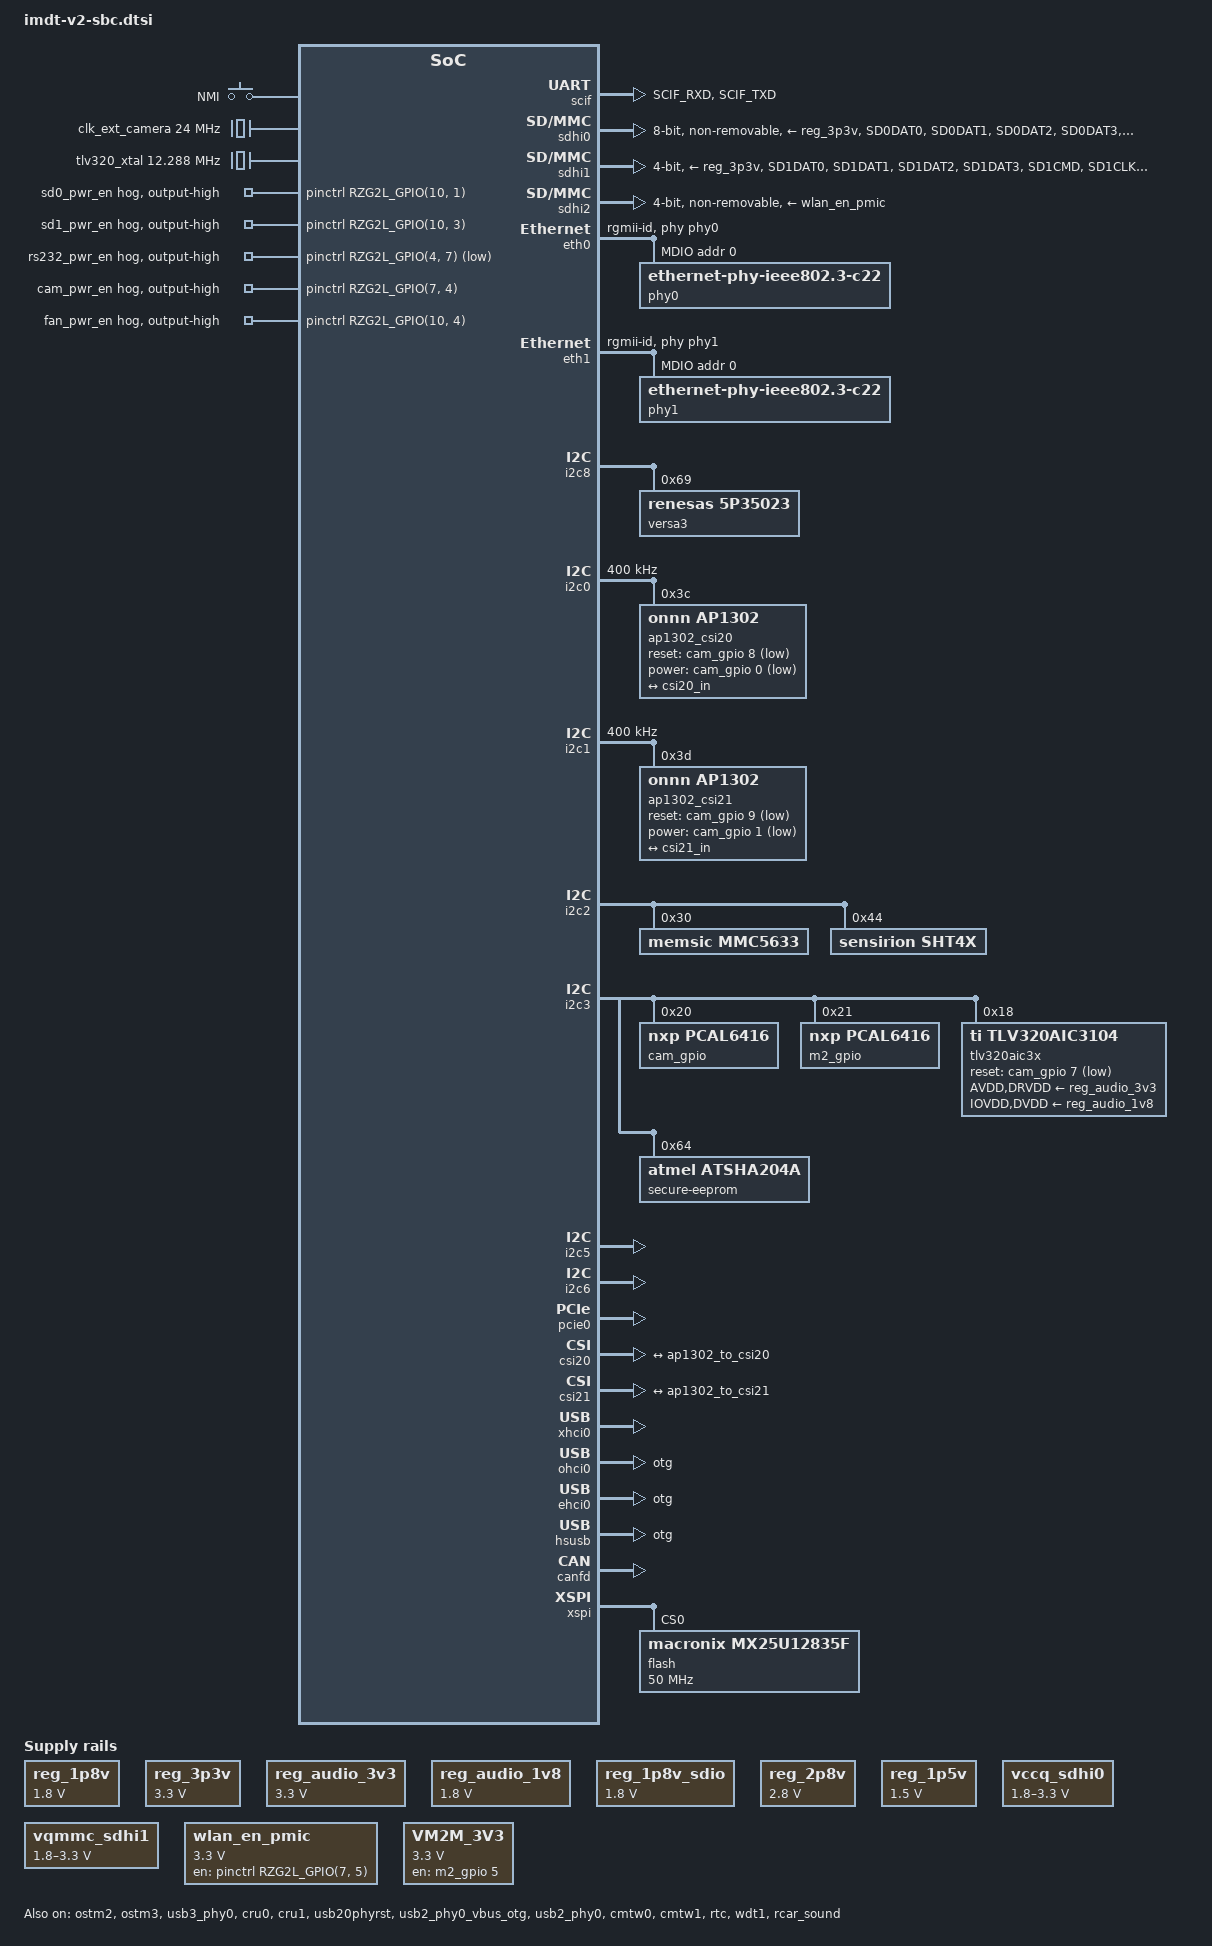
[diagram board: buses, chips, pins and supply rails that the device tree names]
// SPDX-License-Identifier: (GPL-2.0-only OR BSD-2-Clause)
/*
 * Common device tree for the IMDT Renesas V2N or V2H SBCs
 *
 * Copyright (C) 2022 Renesas Electronics Corp.
 * Copyright (C) 2024 IMD Technologies Ltd.
 */

/ {
	chosen {
		bootargs = "ignore_loglevel";
		stdout-path = "serial0:115200n8";
	};

	mmngr {
		compatible = "renesas,mmngr";
		memory-region = <&mmp_reserved>;
	};

	mmngrbuf {
		compatible = "renesas,mmngrbuf";
	};

	vspm_if {
		compatible = "renesas,vspm_if";
	};

	gpio-keys {
		compatible = "gpio-keys";

		nmi {
			interrupt-parent = <&icu>;
			interrupts = <0 IRQ_TYPE_EDGE_FALLING>;
			linux,code = <0>;
			label = "NMI";
			wakeup-source;
		};
	};

	reg_1p8v: regulator0 {
		compatible = "regulator-fixed";

		regulator-name = "fixed-1.8V";
		regulator-min-microvolt = <1800000>;
		regulator-max-microvolt = <1800000>;
		regulator-boot-on;
		regulator-always-on;
	};

	reg_3p3v: regulator1 {
		compatible = "regulator-fixed";

		regulator-name = "fixed-3.3V";
		regulator-min-microvolt = <3300000>;
		regulator-max-microvolt = <3300000>;
		regulator-boot-on;
		regulator-always-on;
	};

	reg_audio_3v3: regulator2 {
		compatible = "regulator-fixed";
		regulator-name = "audio-3V3";
		regulator-min-microvolt = <3300000>;
		regulator-max-microvolt = <3300000>;
		regulator-always-on;
	};

	reg_audio_1v8: regulator3 {
		compatible = "regulator-fixed";
		regulator-name = "audio-1V8";
		regulator-min-microvolt = <1800000>;
		regulator-max-microvolt = <1800000>;
		regulator-always-on;
	};

	reg_1p8v_sdio: regulator4 {
		compatible = "regulator-fixed";
		regulator-name = "sdio-fixed-1.8V";
		regulator-min-microvolt = <1800000>;
		regulator-max-microvolt = <1800000>;
		regulator-boot-on;
		regulator-always-on;
	};
	reg_2p8v: regulator5 {
		compatible = "regulator-fixed";

		regulator-name = "fixed-2.8V";
		regulator-min-microvolt = <2800000>;
		regulator-max-microvolt = <2800000>;
		regulator-boot-on;
		regulator-always-on;
	};
	reg_1p5v: regulator6 {
		compatible = "regulator-fixed";

		regulator-name = "fixed-1.5V";
		regulator-min-microvolt = <1500000>;
		regulator-max-microvolt = <1500000>;
		regulator-boot-on;
		regulator-always-on;
	};

	vccq_sdhi0: regulator-vccq-sdhi0 {
		compatible = "regulator-gpio";

		regulator-name = "SDHI0 VccQ";
		regulator-min-microvolt = <1800000>;
		regulator-max-microvolt = <3300000>;

		// LDO_SEL1 input on RAA215300 PMIC
		gpios = <&pinctrl RZG2L_GPIO(10, 0) GPIO_ACTIVE_HIGH>;

		gpios-states = <0>;
		states = <3300000 0 1800000 1>;
	};

	vqmmc_sdhi1: regulator-vccq-sdhi1 {
		compatible = "regulator-gpio";

		regulator-name = "SDHI1 VccQ";
		regulator-min-microvolt = <1800000>;
		regulator-max-microvolt = <3300000>;

		// LDO_SEL2 input on RAA215300 PMIC
		gpios = <&pinctrl RZG2L_GPIO(10, 2) GPIO_ACTIVE_HIGH>;

		gpios-states = <0>;
		states = <3300000 0 1800000 1>;
	};

	wlan_en_pmic: wlan-en-1-8v {
		compatible = "regulator-fixed";

		regulator-name = "wlan-pmic-en-regulator";
		regulator-min-microvolt = <3300000>;
		regulator-max-microvolt = <3300000>;

		gpio = <&pinctrl RZG2L_GPIO(7, 5) GPIO_ACTIVE_HIGH>;

		startup-delay-us = <100000>;
		enable-active-high;
	};
	// Regulator for the M2 Key M slot
	VM2M_3V3: VM2M_en-3-3v {
		compatible = "regulator-fixed";

		regulator-name = "V2M_3V3";
		regulator-min-microvolt = <3300000>;
		regulator-max-microvolt = <3300000>;

		gpio = <&m2_gpio 5 GPIO_ACTIVE_HIGH>;
		/* Measured to take 0.5ms using a scope, set to 5ms */
		/* so there's a safety factor to ensure the regulator is stable */
		startup-delay-us = <5000>;
		enable-active-high;
	};

	clk_ext_camera: clk_ext_camera {
		compatible = "fixed-clock";
		#clock-cells = <0>;
		clock-frequency = <24000000>;
	};

	/* input to the 5L35023B */
	x1_clk: x1-clock {
		compatible = "fixed-clock";
		#clock-cells = <0>;
		clock-frequency = <24000000>;
	};

	tlv320_xtal: tlv320_xtal {
		compatible = "fixed-clock";
		#clock-cells = <0>;
		clock-frequency = <12288000>;
	};

	snd_rzv2h: sound {
		#address-cells = <1>;
		#size-cells = <0>;
		compatible = "simple-audio-card";
		simple-audio-card,name = "rsnd_rzv2h";
		status = "okay";
		simple-audio-card,widgets =
			"Microphone", "Microphone Jack",
			"Headphone", "Headphone Jack";
		simple-audio-card,routing =
			"Headphone Jack", "HPLOUT",
			"Headphone Jack", "HPROUT",
			"MIC2R", "Microphone Jack",
			"Microphone Jack", "Mic Bias";

		ssi_link: simple-audio-card,dai-link@0 {
			format = "i2s";
			reg = <0>;
			bitclock-master = <&cpu_dai0>;
			frame-master = <&cpu_dai0>;
			mclk-fs = <256>;

			cpu_dai0: cpu {
				sound-dai = <&rcar_sound>;
			};

			codec {
				sound-dai = <&tlv320aic3x>;
			};
		};
	};

	dsi_adaptor_i2c: dsi_adaptor_i2c {
		compatible = "i2c-gpio";
		sda-gpios = <&pinctrl RZG2L_GPIO(2, 0) GPIO_ACTIVE_HIGH>;
		scl-gpios = <&pinctrl RZG2L_GPIO(2, 1) GPIO_ACTIVE_HIGH>;
		i2c-gpio,delay-us = <2>;    /* ~100 kHz */
		#address-cells = <1>;
		#size-cells = <0>;
		status = "disabled";
	};
};

&audio_clka {
	/* output from 5L35023B */
	clock-frequency = <22579200>;
};

&pinctrl {
	can1_pins: can1 {
		pinmux = <RZG2L_PORT_PINMUX(8, 2, 5)>, /* TX */
				<RZG2L_PORT_PINMUX(8, 3, 5)>; /* RX */
	};

	scif0_pins: scif0 {
		pins =  "SCIF_RXD", "SCIF_TXD";
	};

	sci0_pins: sci0 {
		pinmux = <RZG2L_PORT_PINMUX(5, 0, 1)>, /* SCI0_TXD_MOSI_SDA */
				<RZG2L_PORT_PINMUX(5, 1, 1)>; /* SCI0_RXD_MISO_SCL */
	};

	sd0_pwr_en {
		gpio-hog;
		gpios = <RZG2L_GPIO(10, 1) GPIO_ACTIVE_HIGH>;
		output-high;
		line-name = "sd0_pwr_en";
	};

	sdhi0_emmc_pins: emmc-pins {
		sd0-dat-cmd {
			pins = "SD0DAT0", "SD0DAT1", "SD0DAT2", "SD0DAT3", "SD0DAT4",
					"SD0DAT5", "SD0DAT6", "SD0DAT7", "SD0CMD";
			input-enable;
			renesas,output-impedance = <3>;
			slew-rate = <0>;
		};

		sd0-clk {
			pins = "SD0CLK";
			renesas,output-impedance = <3>;
			slew-rate = <0>;
		};
	};

	sd1_pwr_en {
		gpio-hog;
		gpios = <RZG2L_GPIO(10, 3) GPIO_ACTIVE_HIGH>;
		output-high;
		line-name = "sd1_pwr_en";
	};

	sdhi1_pins: sd1 {
		sd1_dat_cmd {
			pins = "SD1DAT0", "SD1DAT1", "SD1DAT2", "SD1DAT3", "SD1CMD";
			input-enable;
			renesas,output-impedance = <3>;
			slew-rate = <0>;
		};

		sd1_clk {
			pins = "SD1CLK";
			renesas,output-impedance = <3>;
			slew-rate = <0>;
		};
	};

	rs232_pwr_en {
		gpio-hog;
		gpios = <RZG2L_GPIO(4, 7) GPIO_ACTIVE_LOW>;
		output-high;
		line-name = "rs232_pwr_en";
	};

	/* cam_pwr_en turns on 1.2V reg, 1.8V_CAM supply and 3.3V_CAM supply. */
	/* Schematic on SOM shows this being PB2/CAM0&1_PWR but it's actually using */
	/* P74. And you can trace this from the SOM to the SBC schematic */
	cam_pwr_en {
		gpio-hog;
		gpios = <RZG2L_GPIO(7, 4) GPIO_ACTIVE_HIGH>;
		output-high;
		line-name = "cam_pwr_en";
	};

	fan_pwr_en {
		gpio-hog;
		gpios = <RZG2L_GPIO(10, 4) GPIO_ACTIVE_HIGH>;
		output-high;
		line-name = "fan_pwr_en";
	};

	i2c0_pins: i2c0 {
		pinmux = <RZG2L_PORT_PINMUX(3, 0, 1)>, /* I2C0_SDA */
				<RZG2L_PORT_PINMUX(3, 1, 1)>; /* I2C0_SCL */
	};

	i2c1_pins: i2c1 {
		pinmux = <RZG2L_PORT_PINMUX(3, 2, 1)>, /* I2C1_SDA */
				<RZG2L_PORT_PINMUX(3, 3, 1)>; /* I2C1_SCL */
	};

	i2c2_pins: i2c2 {
		pinmux = <RZG2L_PORT_PINMUX(3, 4, 1)>, /* I2C2_SDA */
				<RZG2L_PORT_PINMUX(3, 5, 1)>; /* I2C2_SCL */
	};

	i2c3_pins: i2c3 {
		pinmux = <RZG2L_PORT_PINMUX(3, 6, 1)>, /* I2C3_SDA */
				<RZG2L_PORT_PINMUX(3, 7, 1)>; /* I2C3_SCL */
	};

	i2c5_pins: i2c5 {
		pinmux = <RZG2L_PORT_PINMUX(4, 2, 1)>, /* I2C5_SDA */
				<RZG2L_PORT_PINMUX(4, 3, 1)>; /* I2C5_SCL */
	};

	i2c6_pins: i2c6 {
		pinmux = <RZG2L_PORT_PINMUX(4, 4, 1)>, /* I2C6_SDA */
				<RZG2L_PORT_PINMUX(4, 5, 1)>; /* I2C6_SCL */
	};

	i2c8_pins: i2c8 {
		pinmux = <RZG2L_PORT_PINMUX(0, 6, 1)>, /* I2C8_SDA */
				<RZG2L_PORT_PINMUX(0, 7, 1)>; /* I2C8_SCL */
	};

	usb30_pins: usb30 {
		ovc {
			pinmux = <RZG2L_PORT_PINMUX(6, 1, 14)>; /* OVC */
		};

		vbus {
			pinmux = <RZG2L_PORT_PINMUX(6, 0, 14)>; /* VBUS */
		};
	};

	usb20_pins: usb20 {
		ovc {
			pinmux =  <RZG2L_PORT_PINMUX(9, 6, 14)>; /* OVC */
		};

		vbus {
			pinmux = <RZG2L_PORT_PINMUX(9, 5, 14)>; /* VBUS */
		};
	};

	i3c_pins: i3c {
		pinmux = <RZG2L_PORT_PINMUX(2, 0,0 )>, /* GPIO */
				<RZG2L_PORT_PINMUX(2, 1,0)>; /* GPIO0 */
	};

	sound_pins: sound {
		pinmux = <RZG2L_PORT_PINMUX(1, 2, 7)>, /* SSI3_SCK */
				<RZG2L_PORT_PINMUX(1, 3, 7)>, /* SSI3_WS */
				<RZG2L_PORT_PINMUX(0, 4, 7)>, /* SSI3_SDATA */
				<RZG2L_PORT_PINMUX(1, 5, 7)>; /* SSI4_SDATA */
	};

	wifi_sdio_pins: wifi {
		wifi_sdio_data_pins {
			pinmux = <RZG2L_PORT_PINMUX(11, 1, 1)>, //SD2DAT0
				<RZG2L_PORT_PINMUX(11, 2, 1)>, //SD2DAT1
				<RZG2L_PORT_PINMUX(11, 3, 1)>, //SD2DAT2
				<RZG2L_PORT_PINMUX(11, 4, 1)>, //SD2DAT3
				<RZG2L_PORT_PINMUX(11, 5, 1)>; //SD2CMD
		};

		wifi_sdio_clk_pin {
			pinmux = <RZG2L_PORT_PINMUX(11, 0, 1)>; //SD2CLK
		};
	};

	bluetooth_pins: bluetooth {
		pinmux = <RZG2L_PORT_PINMUX(5, 4, 1)>, //SCI2_TXD_MOSI_SDA
				<RZG2L_PORT_PINMUX(5, 5, 1)>, //SCI2_RXD_MISO_SCL
				<RZG2L_PORT_PINMUX(5, 6, 4)>, //SCI2_CTS
				<RZG2L_PORT_PINMUX(5, 7, 2)>; //SCI2_CTS_RTS
	};
};

&qextal_clk {
	clock-frequency = <24000000>;
};

&ostm2 {
	status = "okay";
};

&ostm3 {
	status = "okay";
};

&scif {
	pinctrl-0 = <&scif0_pins>;
	pinctrl-names = "default";

	status = "okay";
};

&sdhi0 {
	pinctrl-0 = <&sdhi0_emmc_pins>;
	pinctrl-1 = <&sdhi0_emmc_pins>;
	pinctrl-names = "default", "state_uhs";
	vmmc-supply = <&reg_3p3v>;
	vqmmc-supply = <&vccq_sdhi0>;
	bus-width = <8>;
	non-removable;
	no-sd;
	no-sdio;
	mmc-hs200-1_8v;
	fixed-emmc-driver-type = <1>;
	status = "okay";
};

&usb3_phy0 {
	status = "okay";
};

&sdhi1 {
	pinctrl-0 = <&sdhi1_pins>;
	pinctrl-1 = <&sdhi1_pins>;
	pinctrl-names = "default", "state_uhs";
	vmmc-supply = <&reg_3p3v>;
	vqmmc-supply = <&vqmmc_sdhi1>;
	bus-width = <4>;
	sd-uhs-sdr50;
	sd-uhs-sdr104;
	cd-gpios = <&pinctrl RZG2L_GPIO(9, 4) GPIO_ACTIVE_HIGH>;
	status = "okay";
};

&sdhi2 {
	pinctrl-names = "default";
	pinctrl-0 = <&wifi_sdio_pins>;

	vmmc-supply = <&wlan_en_pmic>;
	vqmmc-supply = <&reg_1p8v_sdio>;
	bus-width = <4>;
	keep-power-in-suspend;
	non-removable;

	no-sd;
	no-mmc;

	sd-uhs-sdr12;
	sd-uhs-sdr25;
	sd-uhs-sdr50;
	status = "okay";
};

&eth0 {
	phy-handle = <&phy0>;
	phy-mode = "rgmii-id";
	status = "okay";

	mdio {
		#address-cells = <1>;
		#size-cells = <0>;
		phy0: ethernet-phy@0 {
			compatible = "ethernet-phy-ieee802.3-c22";
			reg = <0>;

			// NOTE: these properties were copied from pico-e device tree
			eee-broken-1000t;
			rtl821x,clkout-disable;
		};
	};
};

&eth1 {
	phy-handle = <&phy1>;
	phy-mode = "rgmii-id";
	status = "okay";

	mdio {
		#address-cells = <1>;
		#size-cells = <0>;
		phy1: ethernet-phy@0 {
			compatible = "ethernet-phy-ieee802.3-c22";
			reg = <0>;

			// NOTE: these properties were copied from pico-e device tree
			eee-broken-1000t;
			rtl821x,clkout-disable;
		};
	};
};

&i2c8 {
	pinctrl-0 = <&i2c8_pins>;
	pinctrl-names = "default";

	status = "okay";

	versa3: versa3@69 {
		compatible = "renesas,5p35023";
		reg = <0x69>;
		#clock-cells = <1>;
		clocks = <&x1_clk>;
		clock-names = "x1";
		otp-burned;
		32kHz-free-running;

		assigned-clocks = <&versa3 0>,
					<&versa3 1>,
					<&versa3 2>,
					<&versa3 3>,
					<&versa3 4>,
					<&versa3 5>;
		assigned-clock-rates =  <100000000>, <100000000>,
					<22579200>, <32768>,
					<24576000>, <24000000>;
		clock-divider-read-only = <1>, <1>, <1>, <1>, <1>;
		clock-flags = <2176>, <2176>, <2176>, <2052>, <2176>, <2048>;
	};
};

&i2c0 {
	pinctrl-0 = <&i2c0_pins>;
	pinctrl-names = "default";
	clock-frequency = <400000>;

	status = "okay";

	ap1302_csi20: ap1302_csi20@3c {
		compatible = "onnn,ap1302";
		reg = <0x3c>;

		clock-names = "csi_mclk";
		clocks = <&clk_ext_camera>;

		reset-gpios = <&cam_gpio 8 GPIO_ACTIVE_LOW>;
		power-gpios = <&cam_gpio 0 GPIO_ACTIVE_LOW>;

		port {
			ap1302_to_csi20: endpoint {
				clock-lanes = <0>;
				data-lanes = <1 2 3 4>;
				remote-endpoint = <&csi20_in>;
			};
		};

		sensors {
			#address-cells = <1>;
			#size-cells = <0>;

			onnn,model = "onnn,ar1335";

			sensor@0 {
				reg = <0>;
			};
		};
	};
};

&i2c1 {
	pinctrl-0 = <&i2c1_pins>;
	pinctrl-names = "default";
	clock-frequency = <400000>;

	status = "okay";

	ap1302_csi21: ap1302_csi21@3d {
		compatible = "onnn,ap1302";
		reg = <0x3d>;

		clock-names = "csi_mclk";
		clocks = <&clk_ext_camera>;

		reset-gpios = <&cam_gpio 9 GPIO_ACTIVE_LOW>;
		power-gpios = <&cam_gpio 1 GPIO_ACTIVE_LOW>;

		port {
			ap1302_to_csi21: endpoint {
				clock-lanes = <0>;
				data-lanes = <1 2 3 4>;
				remote-endpoint = <&csi21_in>;
			};
		};

		sensors {
			#address-cells = <1>;
			#size-cells = <0>;

			onnn,model = "onnn,ar1335";

			sensor@0 {
				reg = <0>;
			};
		};
	};
};

&i2c2 {
	pinctrl-0 = <&i2c2_pins>;
	pinctrl-names = "default";

	status = "okay";

	mmc5633@30 {
		compatible = "memsic,mmc5633";
		reg = <0x30>;
	};

	sht4x@44 {
		compatible = "sensirion,sht4x";
		reg = <0x44>;
	};
};

&i2c3 {
	pinctrl-0 = <&i2c3_pins>;
	pinctrl-names = "default";

	status = "okay";

	cam_gpio: gpio@20 {
		compatible = "nxp,pcal6416";
		reg = <0x20>;
		gpio-controller;
		#gpio-cells = <2>;

		gpio-line-names =
			"ISP_CCM1_PWR_DIS",
			"ISP_CCM2_PWR_DIS",
			"CCM1_PWR_DIS",
			"CCM2_PWR_DIS",
			"ISP_STBY",
			"ISP_CAM_TRIG",
			"CCM_TRIG",
			"nAUDIO_RESET_1V8",
			"ISP_CCM1_RST",
			"ISP_CCM2_RST",
			"CCM1_RST",
			"CCM2_RST",
			"USB2_SEL",
			"M2_SDIO_RSTn",
			"TP232",
			"RS232_INVALIDn";

		isp-stby-hog {
			gpio-hog;
			gpios = <4 GPIO_ACTIVE_HIGH>;
			output-low;
		};
	};

	m2_gpio: gpio@21 {
		compatible = "nxp,pcal6416";
		reg = <0x21>;
		gpio-controller;
		#gpio-cells = <2>;

		gpio-line-names =
			"M2B-CONFIG_0",
			"M2B-CONFIG_1",
			"M2B-CONFIG_2",
			"M2B-CONFIG_3",
			"M2B_CARD_ONOFFn",
			"M2_PD_EN",
			"M2E_BT_WAKE_HOST",
			"M2B_W_DISABLE2n",
			"M2B_WAKE-UP",
			"M2B_RSTn",
			"M2B_DPR",
			"M2B_FLIGHT_MODE",
			"CAN_STDBY",
			"M2B_WAKE_HOST",
			"M2E_BT_ENn",
			"M2E_WLAN_ENn";
	};

	tlv320aic3x: codec@18 {
		#sound-dai-cells = <0>;
		compatible = "ti,tlv320aic3104";
		clocks = <&tlv320_xtal>;
		reg = <0x18>;
		reset-gpios = <&cam_gpio 7 GPIO_ACTIVE_LOW>;
		ai3x-micbias-vg = <1>;
		AVDD-supply = <&reg_audio_3v3>;
		IOVDD-supply = <&reg_audio_1v8>;
		DRVDD-supply = <&reg_audio_3v3>;
		DVDD-supply = <&reg_audio_1v8>;
	};

	secure-eeprom@64 {
		compatible = "atmel,atsha204a";
		reg = <0x64>;
	};
};

&i2c5 {
	pinctrl-0 = <&i2c5_pins>;
	pinctrl-names = "default";

	status = "okay";
};

&i2c6 {
	pinctrl-0 = <&i2c6_pins>;
	pinctrl-names = "default";

	status = "okay";
};

&pcie0 {
	vdd-supply = <&VM2M_3V3>;
	status = "okay";
};

&cru0 {
	status = "okay";
};

&csi20 {
	status = "okay";
	ports {
		#address-cells = <1>;
		#size-cells = <0>;

		port@0 {
			reg = <0>;
			csi20_in: endpoint {
				clock-lanes = <0>;
				data-lanes = <1 2 3 4>;
				remote-endpoint = <&ap1302_to_csi20>;
			};
		};
	};
};

&cru1 {
	status = "okay";
};

&csi21 {
	status = "okay";

	ports {
		#address-cells = <1>;
		#size-cells = <0>;

		port@0 {
			reg = <0>;
			csi21_in: endpoint {
				clock-lanes = <0>;
				data-lanes = <1 2 3 4>;
				remote-endpoint = <&ap1302_to_csi21>;
			};
		};
	};
};

&xhci0 {
	pinctrl-0 = <&usb30_pins>;
	pinctrl-names = "default";

	memory-region = <&global_cma>;
	status = "okay";
};

&ohci0 {
	memory-region = <&global_cma>;
	dr_mode = "otg";
	status = "okay";
};

&ehci0 {
	memory-region = <&global_cma>;
	dr_mode = "otg";
	status = "okay";
};

&hsusb {
	dr_mode = "otg";
	status = "okay";
};

&usb20phyrst {
	status = "okay";
};

&usb2_phy0_vbus_otg {
	status = "okay";
};

&usb2_phy0 {
	pinctrl-0 = <&usb20_pins>;
	pinctrl-names = "default";

	vbus-supply = <&usb2_phy0_vbus_otg>;
	status = "okay";
};

&cmtw0 {
	status = "okay";
};

&cmtw1 {
	status = "okay";
};

&rtc_clk {
	clock-frequency = <32768>;
};

&rtc {
	status = "okay";
};

&canfd {
	pinctrl-0 = <&can1_pins>;
	pinctrl-names = "default";
	status = "okay";
	//renesas,no-can-fd; - enables classic CAN
	channel1 {
		status = "okay";
	};
};

&wdt1 {
	status = "okay";
};

&xspi {
	status = "okay";

	flash@0 {
		compatible = "macronix,mx25u12835f", "jedec,spi-nor";
		reg = <0>;
		m25p,fast-read;
		spi-max-frequency = <50000000>;
		spi-tx-bus-width = <1>;
		spi-rx-bus-width = <1>;
	};
};

&rcar_sound {

	pinctrl-names = "default";
	pinctrl-0 = <&sound_pins>;
	status = "okay";

	/* audio_clkout */
	#clock-cells = <0>;
	clock-frequency = <12288000>; /* should select audio_clka */
	#sound-dai-cells = <0>;

	rcar_sound,dai {
		dai0 {
			playback = <&ssi3>;
			capture  = <&ssi4>;
		};
	};
};

&ssi4 {
	shared-pin;
};
